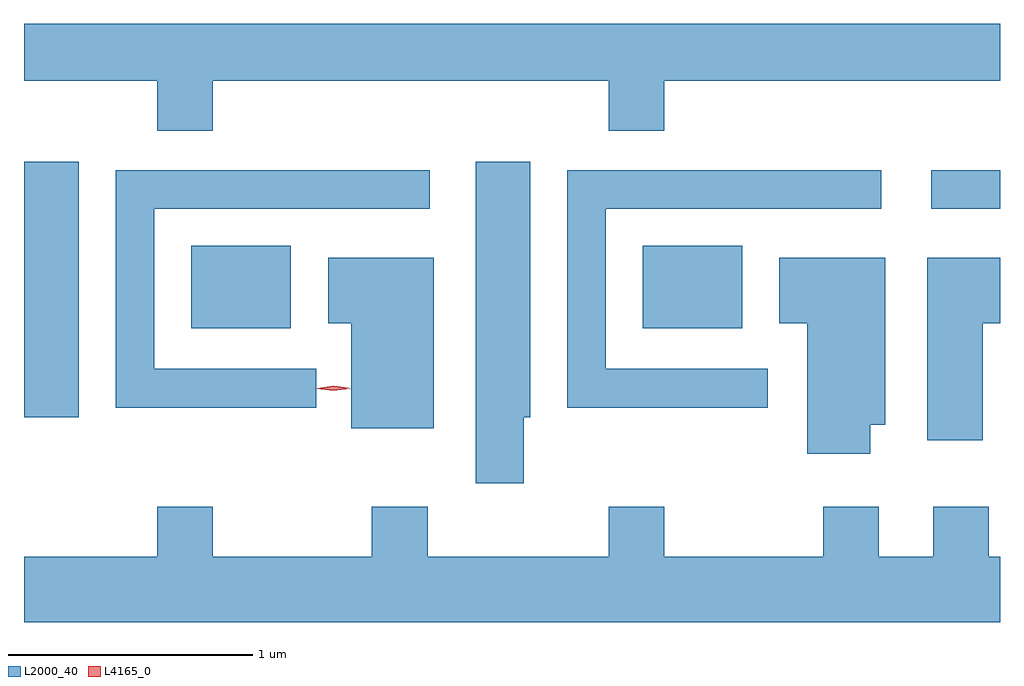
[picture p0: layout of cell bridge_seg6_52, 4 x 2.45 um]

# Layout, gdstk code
import gdstk
lib = gdstk.Library(unit=1e-6, precision=1e-09)
def R(c, l, rs):  # rectangles x0, y0, x1, y1
    for r in rs: c.add(gdstk.rectangle(r[:2], r[2:], *l))
def P(c, l, *ps):  # polygons
    for p in ps: c.add(gdstk.Polygon(p, *l))
L2000_40 = (2000, 40)
L4165_0 = (4165, 0)

bridge_seg6_52 = lib.new_cell('bridge_seg6_52')
R(bridge_seg6_52, L2000_40, [(1506.596,1604.156,1506.819,1605.204), (1507.281,1604.521,1507.689,1604.859), (1509.131,1604.521,1509.539,1604.859), (1510.313,1605.011,1510.595,1605.169)])
P(bridge_seg6_52, L2000_40, [(1507.369,1605.536),(1508.991,1605.536),(1508.991,1605.331),(1509.219,1605.331),(1509.219,1605.536),(1510.595,1605.536),(1510.595,1605.769),(1506.595,1605.769),(1506.595,1605.536),(1507.141,1605.536),(1507.141,1605.331),(1507.369,1605.331)],
  [(1508.644,1604.156),(1508.669,1604.156),(1508.669,1605.204),(1508.446,1605.204),(1508.446,1603.886),(1508.644,1603.886)],
  [(1509.643,1604.354),(1508.979,1604.354),(1508.979,1605.011),(1510.108,1605.011),(1510.108,1605.169),(1508.821,1605.169),(1508.821,1604.196),(1509.643,1604.196)],
  [(1507.793,1604.354),(1507.129,1604.354),(1507.129,1605.011),(1508.258,1605.011),(1508.258,1605.169),(1506.971,1605.169),(1506.971,1604.196),(1507.793,1604.196)],
  [(1510.064,1604.126),(1510.124,1604.126),(1510.124,1604.809),(1509.691,1604.809),(1509.691,1604.541),(1509.806,1604.541),(1509.806,1604.006),(1510.064,1604.006)],
  [(1510.524,1604.541),(1510.595,1604.541),(1510.595,1604.809),(1510.296,1604.809),(1510.296,1604.061),(1510.524,1604.061)],
  [(1508.274,1604.809),(1507.841,1604.809),(1507.841,1604.541),(1507.936,1604.541),(1507.936,1604.111),(1508.274,1604.111)],
  [(1510.595,1603.584),(1510.549,1603.584),(1510.549,1603.789),(1510.321,1603.789),(1510.321,1603.584),(1510.099,1603.584),(1510.099,1603.789),(1509.871,1603.789),(1509.871,1603.584),(1509.219,1603.584),(1509.219,1603.789),(1508.991,1603.789),(1508.991,1603.584),(1508.249,1603.584),(1508.249,1603.789),(1508.021,1603.789),(1508.021,1603.584),(1507.369,1603.584),(1507.369,1603.789),(1507.141,1603.789),(1507.141,1603.584),(1506.595,1603.584),(1506.595,1603.316),(1510.595,1603.316)])
P(bridge_seg6_52, L4165_0, [(1507.863,1604.264),(1507.795,1604.273),(1507.794,1604.274),(1507.795,1604.274),(1507.863,1604.284),(1507.931,1604.274),(1507.932,1604.274),(1507.931,1604.273)],
  [(1507.862,1604.267),(1507.798,1604.275),(1507.798,1604.275),(1507.798,1604.276),(1507.862,1604.286),(1507.926,1604.278),(1507.926,1604.278),(1507.926,1604.277)])

lib.write_gds('bridge_seg6_52.gds')
